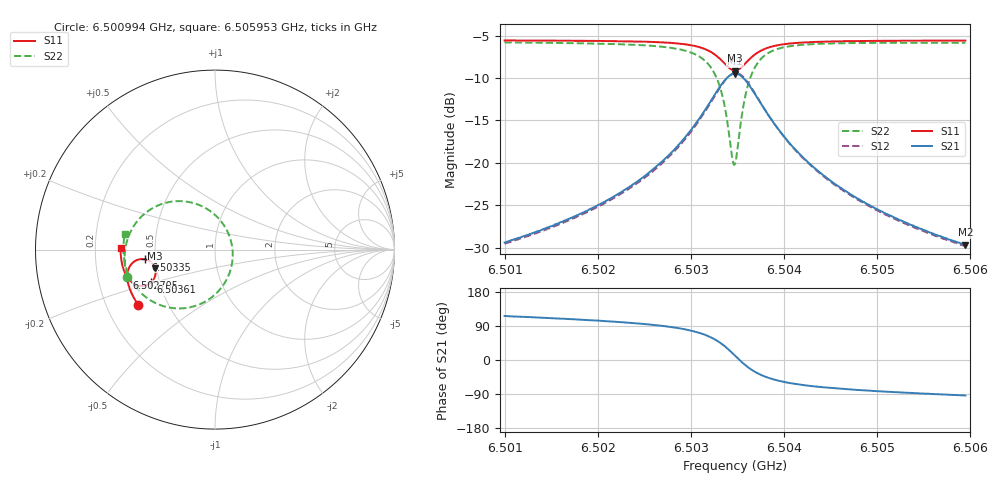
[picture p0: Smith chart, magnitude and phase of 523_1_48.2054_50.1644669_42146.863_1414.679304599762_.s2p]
#  HZ  S  RI  R  50.00
! Rohde & Schwarz Vector Network Analyzer
! Rohde-Schwarz,ZNB20-2Port,1311601062101988,3.16
! Created: UTC 3/20/2024, 11:59:33 AM
! freq[Hz]  re:S11  im:S11  re:S21  im:S21  re:S12  im:S12  re:S22  im:S22
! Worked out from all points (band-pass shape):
!   401 points, 6.500994 GHz to 6.505953 GHz, reference 50 ohm
!   highest |S21| = -9.47 dB at 6.503474 GHz (marker M1); lowest = -29.7 dB at 6.505953 GHz (marker M2)
!   |S21| within 3 dB of the highest: 6.503226 GHz to 6.503722 GHz (495.5 kHz wide, 0.00762 % of centre)
!   lowest |S11| = -9.1 dB at 6.503474 GHz (marker M3), VSWR 2.08, Z = 24.5 - j5.87 ohm
!   |S11| at or under -10 dB: nowhere
!   |S22| runs from -20.2 to -5.8 dB; largest |S21 - S12| = 0.011
!   S11 on the Smith chart (normalised r, x): 6.500994 GHz: 0.34, -0.29; 6.502705 GHz: 0.33, -0.14; 6.50335 GHz: 0.44, -0.06; 6.50361 GHz: 0.45, -0.19; 6.505953 GHz: 0.31, +0.01
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6.5009941e9  -0.428 -0.3076  -0.0149 0.0304  -0.0132 0.0306  -0.4905 -0.1517
6.5018248e9  -0.4636 -0.2458  -0.0141 0.0486  -0.0117 0.0481  -0.5032 -0.0627
6.5022835e9  -0.4796 -0.2049  -0.0111 0.0682  -0.00819 0.0671  -0.4998 0.00323
6.5026555e9  -0.4882 -0.1633  -0.00195 0.098  0.00169 0.0957  -0.4797 0.0787
6.5027051e9  -0.4887 -0.1567  0.000522 0.1037  0.00417 0.1012  -0.4743 0.0914
6.5029407e9  -0.4855 -0.1199  0.0231 0.1403  0.0267 0.1362  -0.4273 0.1652
6.5031018e9  -0.4712 -0.0877  0.062 0.176  0.0646 0.1706  -0.3517 0.2286
6.5032506e9  -0.4339 -0.0579  0.1428 0.205  0.1434 0.1991  -0.2046 0.2702
6.5033498e9  -0.3877 -0.0546  0.2335 0.189  0.2336 0.1847  -0.0475 0.2287
6.5034366e9  -0.345 -0.0832  0.3116 0.1154  0.314 0.1117  0.0769 0.0839
6.5034614e9  -0.337 -0.0974  0.3251 0.0839  0.3285 0.0794  0.0942 0.0243
6.5034738e9  -0.334 -0.1051  0.3294 0.067  0.333 0.0621  0.0981 -0.0068
6.5034986e9  -0.3311 -0.1212  0.3329 0.0326  0.3371 0.0265  0.0961 -0.0698
6.5035358e9  -0.333 -0.145  0.326 -0.0173  0.3296 -0.0255  0.0694 -0.1582
6.5036102e9  -0.355 -0.182  0.2799 -0.0934  0.2801 -0.1043  -0.0392 -0.2808
6.5037217e9  -0.4004 -0.202  0.1934 -0.1387  0.1887 -0.1482  -0.2141 -0.3275
6.5038829e9  -0.4474 -0.1926  0.1102 -0.1351  0.1033 -0.1402  -0.3642 -0.2795
6.5040565e9  -0.4754 -0.1712  0.0648 -0.1145  0.0588 -0.1167  -0.4376 -0.2136
6.5043045e9  -0.4963 -0.1413  0.0344 -0.0895  0.0298 -0.0901  -0.4813 -0.1404
6.504664e9  -0.5116 -0.1033  0.0155 -0.0665  0.0122 -0.0661  -0.5037 -0.0673
6.5051352e9  -0.5215 -0.0593  0.00523 -0.0489  0.00293 -0.0482  -0.5105 0.000543
6.5059535e9  -0.5264 0.0103  -0.00206 -0.0328  -0.0033 -0.0321  -0.5029 0.088
